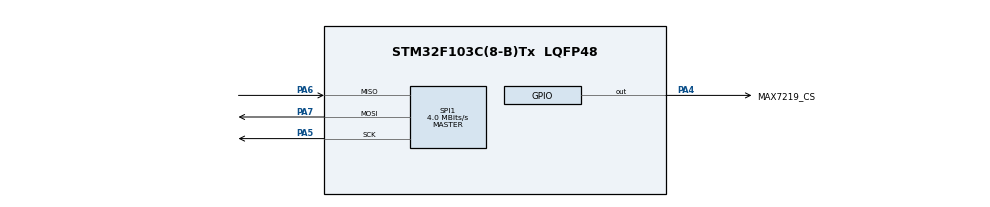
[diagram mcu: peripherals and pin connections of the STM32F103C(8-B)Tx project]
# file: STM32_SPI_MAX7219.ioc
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Mcu.Family=STM32F1
Mcu.Name=STM32F103C(8-B)Tx
Mcu.Package=LQFP48
NVIC.PriorityGroup=NVIC_PRIORITYGROUP_4
PA4.GPIO_Label=MAX7219_CS
PA4.Signal=GPIO_Output
PA5.Mode=Full_Duplex_Master
PA5.Signal=SPI1_SCK
PA6.Mode=Full_Duplex_Master
PA6.Signal=SPI1_MISO
PA7.Mode=Full_Duplex_Master
PA7.Signal=SPI1_MOSI
PD0-OSC_IN.Mode=HSE-External-Oscillator
PD0-OSC_IN.Signal=RCC_OSC_IN
PD1-OSC_OUT.Mode=HSE-External-Oscillator
PD1-OSC_OUT.Signal=RCC_OSC_OUT
ProjectManager.HeapSize=0x200
ProjectManager.StackSize=0x400
ProjectManager.TargetToolchain=Makefile
RCC.APB1Freq_Value=8000000
RCC.APB2Freq_Value=8000000
SPI1.CalculateBaudRate=4.0 MBits/s
SPI1.Direction=SPI_DIRECTION_2LINES
SPI1.Mode=SPI_MODE_MASTER
SPI1.VirtualType=VM_MASTER
VP_SYS_VS_ND.Mode=No_Debug
board=custom

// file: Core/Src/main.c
/* USER CODE BEGIN Header */
/**
  ******************************************************************************
  * @file           : main.c
  * @brief          : Quét Ma trận LED 8x8 qua SPI1 HAL với MAX7219
  ******************************************************************************
  */
/* USER CODE END Header */

#include "main.h"

SPI_HandleTypeDef hspi1;

void SystemClock_Config(void);
static void MX_GPIO_Init(void);
static void MX_SPI1_Init(void);

/* USER CODE BEGIN Private defines */
#define MAX7219_REG_NOOP        0x00
#define MAX7219_REG_DIGIT0      0x01
#define MAX7219_REG_DIGIT1      0x02
#define MAX7219_REG_DIGIT2      0x03
#define MAX7219_REG_DIGIT3      0x04
#define MAX7219_REG_DIGIT4      0x05
#define MAX7219_REG_DIGIT5      0x06
#define MAX7219_REG_DIGIT6      0x07
#define MAX7219_REG_DIGIT7      0x08
#define MAX7219_REG_DECODEMODE  0x09
#define MAX7219_REG_INTENSITY   0x0A
#define MAX7219_REG_SCANLIMIT   0x0B
#define MAX7219_REG_SHUTDOWN    0x0C
#define MAX7219_REG_DISPLAYTEST 0x0F
/* USER CODE END Private defines */

/* USER CODE BEGIN 0 */
void MAX7219_Write(uint8_t address, uint8_t data) {
    uint8_t txData[2] = {address, data};

    // Kéo CS xuống LOW để truyền
    HAL_GPIO_WritePin(MAX7219_CS_GPIO_Port, MAX7219_CS_Pin, GPIO_PIN_RESET);

    // Truyền 2 byte qua SPI1
    HAL_SPI_Transmit(&hspi1, txData, 2, HAL_MAX_DELAY);

    // Kéo CS lên HIGH để chốt dữ liệu
    HAL_GPIO_WritePin(MAX7219_CS_GPIO_Port, MAX7219_CS_Pin, GPIO_PIN_SET);
}

void MAX7219_Init(void) {
    MAX7219_Write(MAX7219_REG_DISPLAYTEST, 0x00); // Tắt test màn hình
    MAX7219_Write(MAX7219_REG_SCANLIMIT, 0x07);   // Quét 8 hàng
    MAX7219_Write(MAX7219_REG_DECODEMODE, 0x00);  // Tắt giải mã BCD cho Ma trận
    MAX7219_Write(MAX7219_REG_INTENSITY, 0x03);   // Độ sáng mức 3/15
    MAX7219_Write(MAX7219_REG_SHUTDOWN, 0x01);    // Bật MAX7219
}

void MAX7219_Clear(void) {
    for (uint8_t row = 1; row <= 8; row++) {
        MAX7219_Write(row, 0x00);
    }
}

void Effect_RowByRow(void) {
    for (uint8_t row = 1; row <= 8; row++) {
        MAX7219_Clear();          // Tắt hàng cũ
        MAX7219_Write(row, 0xFF); // Bật toàn bộ 8 LED trên hàng 'row'
        HAL_Delay(200);           // Chờ 200ms
    }
}
/* USER CODE END 0 */

int main(void)
{
  HAL_Init();
  SystemClock_Config();
  MX_GPIO_Init();
  MX_SPI1_Init();

  /* USER CODE BEGIN 2 */
  MAX7219_Init();
  MAX7219_Clear();
  /* USER CODE END 2 */

  while (1)
  {
    /* USER CODE BEGIN 3 */
    Effect_RowByRow(); // Quét hàng từ trên xuống
    /* USER CODE END 3 */
  }
}

static void MX_SPI1_Init(void)
{
  hspi1.Instance = SPI1;
  hspi1.Init.Mode = SPI_MODE_MASTER;
  hspi1.Init.Direction = SPI_DIRECTION_2LINES;
  hspi1.Init.DataSize = SPI_DATASIZE_8BIT;
  hspi1.Init.CLKPolarity = SPI_POLARITY_LOW;
  hspi1.Init.CLKPhase = SPI_PHASE_1EDGE;
  hspi1.Init.NSS = SPI_NSS_SOFT;
  hspi1.Init.BaudRatePrescaler = SPI_BAUDRATEPRESCALER_16;
  hspi1.Init.FirstBit = SPI_FIRSTBIT_MSB;
  hspi1.Init.TIMode = SPI_TIMODE_DISABLE;
  hspi1.Init.CRCCalculation = SPI_CRCCALCULATION_DISABLE;
  hspi1.Init.CRCPolynomial = 10;
  if (HAL_SPI_Init(&hspi1) != HAL_OK)
  {
    Error_Handler();
  }
}

static void MX_GPIO_Init(void)
{
  GPIO_InitTypeDef GPIO_InitStruct = {0};

  __HAL_RCC_GPIOA_CLK_ENABLE();

  HAL_GPIO_WritePin(MAX7219_CS_GPIO_Port, MAX7219_CS_Pin, GPIO_PIN_SET);

  GPIO_InitStruct.Pin = MAX7219_CS_Pin;
  GPIO_InitStruct.Mode = GPIO_MODE_OUTPUT_PP;
  GPIO_InitStruct.Pull = GPIO_NOPULL;
  GPIO_InitStruct.Speed = GPIO_SPEED_FREQ_LOW;
  HAL_GPIO_Init(MAX7219_CS_GPIO_Port, &GPIO_InitStruct);
}

void SystemClock_Config(void)
{
  RCC_OscInitTypeDef RCC_OscInitStruct = {0};
  RCC_ClkInitTypeDef RCC_ClkInitStruct = {0};

  RCC_OscInitStruct.OscillatorType = RCC_OSCILLATORTYPE_HSI;
  RCC_OscInitStruct.HSIState = RCC_HSI_ON;
  RCC_OscInitStruct.HSICalibrationValue = RCC_HSICALIBRATION_DEFAULT;
  RCC_OscInitStruct.PLL.PLLState = RCC_PLL_NONE;
  if (HAL_RCC_OscConfig(&RCC_OscInitStruct) != HAL_OK)
  {
    Error_Handler();
  }

  RCC_ClkInitStruct.ClockType = RCC_CLOCKTYPE_HCLK|RCC_CLOCKTYPE_SYSCLK
                              |RCC_CLOCKTYPE_PCLK1|RCC_CLOCKTYPE_PCLK2;
  RCC_ClkInitStruct.SYSCLKSource = RCC_SYSCLKSOURCE_HSI;
  RCC_ClkInitStruct.AHBCLKDivider = RCC_SYSCLK_DIV1;
  RCC_ClkInitStruct.APB1CLKDivider = RCC_HCLK_DIV1;
  RCC_ClkInitStruct.APB2CLKDivider = RCC_HCLK_DIV1;

  if (HAL_RCC_ClockConfig(&RCC_ClkInitStruct, FLASH_LATENCY_0) != HAL_OK)
  {
    Error_Handler();
  }
}

void Error_Handler(void)
{
  __disable_irq();
  while (1)
  {
  }
}
